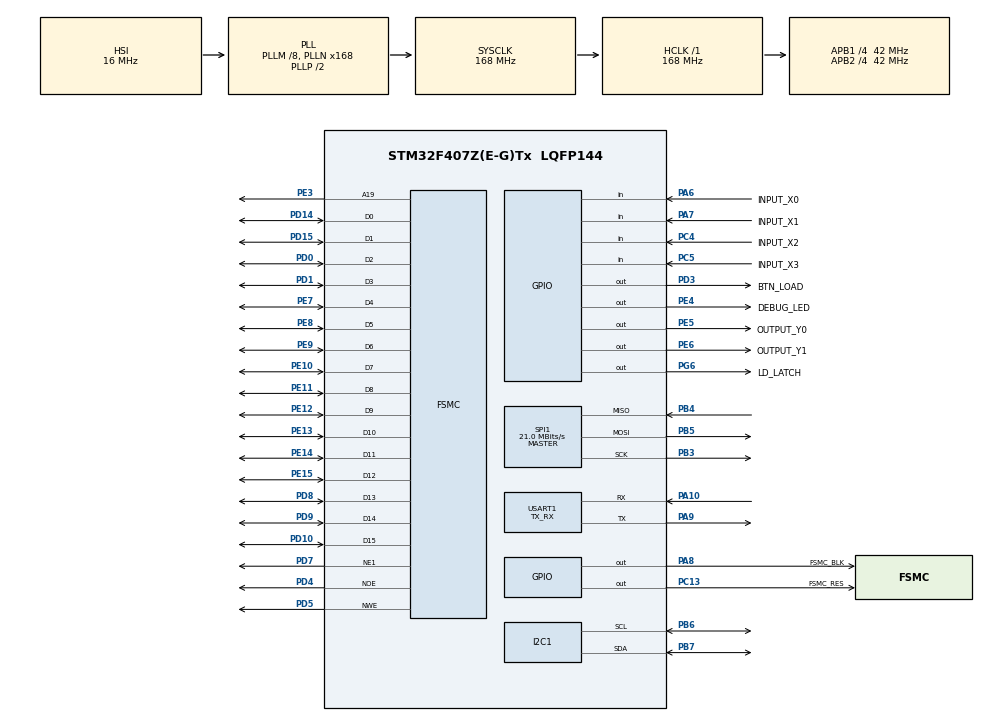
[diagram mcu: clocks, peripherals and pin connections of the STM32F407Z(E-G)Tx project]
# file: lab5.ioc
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FSMC.AddressSetupTime1=0xf
FSMC.BusTurnAroundDuration1=0
FSMC.DataSetupTime1=60
FSMC.ExtendedAddressSetupTime1=8
FSMC.ExtendedBusTurnAroundDuration1=0
FSMC.ExtendedDataSetupTime1=9
FSMC.ExtendedMode1=FSMC_EXTENDED_MODE_ENABLE
Mcu.Family=STM32F4
Mcu.Name=STM32F407Z(E-G)Tx
Mcu.Package=LQFP144
NVIC.PriorityGroup=NVIC_PRIORITYGROUP_4
NVIC.TIM2_IRQn=true\:0\:0\:false\:false\:true\:true\:true
NVIC.USART1_IRQn=true\:0\:0\:false\:false\:true\:true\:true
PA10.Mode=Asynchronous
PA10.Signal=USART1_RX
PA6.GPIO_Label=INPUT_X0
PA6.Signal=GPIO_Input
PA7.GPIO_Label=INPUT_X1
PA7.Signal=GPIO_Input
PA8.GPIO_Label=FSMC_BLK
PA8.Signal=GPIO_Output
PA9.Mode=Asynchronous
PA9.Signal=USART1_TX
PB3.Mode=Full_Duplex_Master
PB3.Signal=SPI1_SCK
PB4.Mode=Full_Duplex_Master
PB4.Signal=SPI1_MISO
PB5.Mode=Full_Duplex_Master
PB5.Signal=SPI1_MOSI
PB6.Mode=I2C
PB6.Signal=I2C1_SCL
PB7.Mode=I2C
PB7.Signal=I2C1_SDA
PC13-ANTI_TAMP.GPIO_Label=FSMC_RES
PC13-ANTI_TAMP.Signal=GPIO_Output
PC4.GPIO_Label=INPUT_X2
PC4.Signal=GPIO_Input
PC5.GPIO_Label=INPUT_X3
PC5.Signal=GPIO_Input
PD0.Signal=FSMC_D2_DA2
PD1.Signal=FSMC_D3_DA3
PD10.Signal=FSMC_D15_DA15
PD14.Signal=FSMC_D0_DA0
PD15.Signal=FSMC_D1_DA1
PD3.GPIO_Label=BTN_LOAD
PD3.Signal=GPIO_Output
PD4.Signal=FSMC_NOE
PD5.Signal=FSMC_NWE
PD7.Mode=NorPsramChipSelect1_1
PD7.Signal=FSMC_NE1
PD8.Signal=FSMC_D13_DA13
PD9.Signal=FSMC_D14_DA14
PE10.Signal=FSMC_D7_DA7
PE11.Signal=FSMC_D8_DA8
PE12.Signal=FSMC_D9_DA9
PE13.Signal=FSMC_D10_DA10
PE14.Signal=FSMC_D11_DA11
PE15.Signal=FSMC_D12_DA12
PE3.Signal=FSMC_A19
PE4.GPIO_Label=DEBUG_LED
PE4.Signal=GPIO_Output
PE5.GPIO_Label=OUTPUT_Y0
PE5.Signal=GPIO_Output
PE6.GPIO_Label=OUTPUT_Y1
PE6.Signal=GPIO_Output
PE7.Signal=FSMC_D4_DA4
PE8.Signal=FSMC_D5_DA5
PE9.Signal=FSMC_D6_DA6
PG6.GPIO_Label=LD_LATCH
PG6.Signal=GPIO_Output
ProjectManager.HeapSize=0x200
ProjectManager.StackSize=0x400
ProjectManager.TargetToolchain=STM32CubeIDE
RCC.48MHZClocksFreq_Value=84000000
RCC.AHBFreq_Value=168000000
RCC.APB1CLKDivider=RCC_HCLK_DIV4
RCC.APB1Freq_Value=42000000
RCC.APB1TimFreq_Value=84000000
RCC.APB2CLKDivider=RCC_HCLK_DIV4
RCC.APB2Freq_Value=42000000
RCC.APB2TimFreq_Value=84000000
RCC.CortexFreq_Value=168000000
RCC.HCLKFreq_Value=168000000
RCC.HSE_VALUE=25000000
RCC.HSI_VALUE=16000000
RCC.LSE_VALUE=32768
RCC.PLLM=8
RCC.PLLN=168
RCC.SYSCLKFreq_VALUE=168000000
RCC.SYSCLKSource=RCC_SYSCLKSOURCE_PLLCLK
RCC.VCOOutputFreq_Value=336000000
SH.FSMC_A19.0=FSMC_A19,A19_1
SH.FSMC_D0_DA0.0=FSMC_D0,16b-d1
SH.FSMC_D10_DA10.0=FSMC_D10,16b-d1
SH.FSMC_D11_DA11.0=FSMC_D11,16b-d1
SH.FSMC_D12_DA12.0=FSMC_D12,16b-d1
SH.FSMC_D13_DA13.0=FSMC_D13,16b-d1
SH.FSMC_D14_DA14.0=FSMC_D14,16b-d1
SH.FSMC_D15_DA15.0=FSMC_D15,16b-d1
SH.FSMC_D1_DA1.0=FSMC_D1,16b-d1
SH.FSMC_D2_DA2.0=FSMC_D2,16b-d1
SH.FSMC_D3_DA3.0=FSMC_D3,16b-d1
SH.FSMC_D4_DA4.0=FSMC_D4,16b-d1
SH.FSMC_D5_DA5.0=FSMC_D5,16b-d1
SH.FSMC_D6_DA6.0=FSMC_D6,16b-d1
SH.FSMC_D7_DA7.0=FSMC_D7,16b-d1
SH.FSMC_D8_DA8.0=FSMC_D8,16b-d1
SH.FSMC_D9_DA9.0=FSMC_D9,16b-d1
SH.FSMC_NOE.0=FSMC_NOE,Lcd1
SH.FSMC_NWE.0=FSMC_NWE,Lcd1
SPI1.CalculateBaudRate=21.0 MBits/s
SPI1.Direction=SPI_DIRECTION_2LINES
SPI1.Mode=SPI_MODE_MASTER
SPI1.VirtualType=VM_MASTER
TIM2.Period=100-1
TIM2.Prescaler=840-1
USART1.Mode=MODE_TX_RX
USART1.VirtualMode=VM_ASYNC
VP_TIM2_VS_ClockSourceINT.Mode=Internal
board=custom

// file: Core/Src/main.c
/* USER CODE BEGIN Header */
/**
  ******************************************************************************
  * @file           : main.c
  * @brief          : Main program body
  ******************************************************************************
  * @attention
  *
  * Copyright (c) 2023 STMicroelectronics.
  * All rights reserved.
  *
  * This software is licensed under terms that can be found in the LICENSE file
  * in the root directory of this software component.
  * If no LICENSE file comes with this software, it is provided AS-IS.
  *
  ******************************************************************************
  */
/* USER CODE END Header */
#include "main.h"

/* USER CODE BEGIN Includes */
#include "uart.h"
#include "clock.h"
/* USER CODE END Includes */

I2C_HandleTypeDef hi2c1;

SPI_HandleTypeDef hspi1;

TIM_HandleTypeDef htim2;

UART_HandleTypeDef huart1;

SRAM_HandleTypeDef hsram1;

void SystemClock_Config(void);
static void MX_GPIO_Init(void);
static void MX_USART1_UART_Init(void);
static void MX_FSMC_Init(void);
static void MX_TIM2_Init(void);
static void MX_SPI1_Init(void);
static void MX_I2C1_Init(void);
/* USER CODE BEGIN PFP */
void system_init();
/* USER CODE END PFP */

int main(void)
{

  /* MCU Configuration--------------------------------------------------------*/

  /* Reset of all peripherals, Initializes the Flash interface and the Systick. */
  HAL_Init();

  /* Configure the system clock */
  SystemClock_Config();

  /* Initialize all configured peripherals */
  MX_GPIO_Init();
  MX_USART1_UART_Init();
  MX_FSMC_Init();
  MX_TIM2_Init();
  MX_SPI1_Init();
  MX_I2C1_Init();
  /* USER CODE BEGIN 2 */
  system_init();  // Initialize all service

  setTimer2(20);          // for button scan
  setClockTimer(PERIOD);     // update clock every 500 ms
  setBlinkLCDTimer(250);  // blink LCD with frequency 2 Hz => Time period = 250 ms

  lcd_Clear(BLACK);
  setStartChar('!');
  setStopChar('#');
  uart_Rs232SendString((uint8_t *)"Hello from STM32\n");
  /* USER CODE END 2 */

  /* Infinite loop */
  /* USER CODE BEGIN WHILE */
  while (1)
  {
	  // displayTime();
    if (getBufSize() == 10) {
      uart_Rs232SendBytes(flushBuffer(), 10);
    }

    if (isClock()) {
      clockFSM();
    }

    if (isBlinkLCD()) {
      blinkTimeFSM();
    }

    if (isFlagTimer2()) {
      button_Scan();
    }

    /* USER CODE END WHILE */

  }
}

void SystemClock_Config(void)
{
  RCC_OscInitTypeDef RCC_OscInitStruct = {0};
  RCC_ClkInitTypeDef RCC_ClkInitStruct = {0};

  /** Configure the main internal regulator output voltage
  */
  __HAL_RCC_PWR_CLK_ENABLE();
  __HAL_PWR_VOLTAGESCALING_CONFIG(PWR_REGULATOR_VOLTAGE_SCALE1);
  /** Initializes the RCC Oscillators according to the specified parameters
  * in the RCC_OscInitTypeDef structure.
  */
  RCC_OscInitStruct.OscillatorType = RCC_OSCILLATORTYPE_HSI;
  RCC_OscInitStruct.HSIState = RCC_HSI_ON;
  RCC_OscInitStruct.HSICalibrationValue = RCC_HSICALIBRATION_DEFAULT;
  RCC_OscInitStruct.PLL.PLLState = RCC_PLL_ON;
  RCC_OscInitStruct.PLL.PLLSource = RCC_PLLSOURCE_HSI;
  RCC_OscInitStruct.PLL.PLLM = 8;
  RCC_OscInitStruct.PLL.PLLN = 168;
  RCC_OscInitStruct.PLL.PLLP = RCC_PLLP_DIV2;
  RCC_OscInitStruct.PLL.PLLQ = 4;
  if (HAL_RCC_OscConfig(&RCC_OscInitStruct) != HAL_OK)
  {
    Error_Handler();
  }
  /** Initializes the CPU, AHB and APB buses clocks
  */
  RCC_ClkInitStruct.ClockType = RCC_CLOCKTYPE_HCLK|RCC_CLOCKTYPE_SYSCLK
                              |RCC_CLOCKTYPE_PCLK1|RCC_CLOCKTYPE_PCLK2;
  RCC_ClkInitStruct.SYSCLKSource = RCC_SYSCLKSOURCE_PLLCLK;
  RCC_ClkInitStruct.AHBCLKDivider = RCC_SYSCLK_DIV1;
  RCC_ClkInitStruct.APB1CLKDivider = RCC_HCLK_DIV4;
  RCC_ClkInitStruct.APB2CLKDivider = RCC_HCLK_DIV4;

  if (HAL_RCC_ClockConfig(&RCC_ClkInitStruct, FLASH_LATENCY_5) != HAL_OK)
  {
    Error_Handler();
  }
}

static void MX_I2C1_Init(void)
{

  hi2c1.Instance = I2C1;
  hi2c1.Init.ClockSpeed = 100000;
  hi2c1.Init.DutyCycle = I2C_DUTYCYCLE_2;
  hi2c1.Init.OwnAddress1 = 0;
  hi2c1.Init.AddressingMode = I2C_ADDRESSINGMODE_7BIT;
  hi2c1.Init.DualAddressMode = I2C_DUALADDRESS_DISABLE;
  hi2c1.Init.OwnAddress2 = 0;
  hi2c1.Init.GeneralCallMode = I2C_GENERALCALL_DISABLE;
  hi2c1.Init.NoStretchMode = I2C_NOSTRETCH_DISABLE;
  if (HAL_I2C_Init(&hi2c1) != HAL_OK)
  {
    Error_Handler();
  }

}

static void MX_SPI1_Init(void)
{

  /* SPI1 parameter configuration*/
  hspi1.Instance = SPI1;
  hspi1.Init.Mode = SPI_MODE_MASTER;
  hspi1.Init.Direction = SPI_DIRECTION_2LINES;
  hspi1.Init.DataSize = SPI_DATASIZE_8BIT;
  hspi1.Init.CLKPolarity = SPI_POLARITY_LOW;
  hspi1.Init.CLKPhase = SPI_PHASE_1EDGE;
  hspi1.Init.NSS = SPI_NSS_SOFT;
  hspi1.Init.BaudRatePrescaler = SPI_BAUDRATEPRESCALER_2;
  hspi1.Init.FirstBit = SPI_FIRSTBIT_MSB;
  hspi1.Init.TIMode = SPI_TIMODE_DISABLE;
  hspi1.Init.CRCCalculation = SPI_CRCCALCULATION_DISABLE;
  hspi1.Init.CRCPolynomial = 10;
  if (HAL_SPI_Init(&hspi1) != HAL_OK)
  {
    Error_Handler();
  }

}

static void MX_TIM2_Init(void)
{

  TIM_ClockConfigTypeDef sClockSourceConfig = {0};
  TIM_MasterConfigTypeDef sMasterConfig = {0};

  htim2.Instance = TIM2;
  htim2.Init.Prescaler = 840-1;
  htim2.Init.CounterMode = TIM_COUNTERMODE_UP;
  htim2.Init.Period = 100-1;
  htim2.Init.ClockDivision = TIM_CLOCKDIVISION_DIV1;
  htim2.Init.AutoReloadPreload = TIM_AUTORELOAD_PRELOAD_DISABLE;
  if (HAL_TIM_Base_Init(&htim2) != HAL_OK)
  {
    Error_Handler();
  }
  sClockSourceConfig.ClockSource = TIM_CLOCKSOURCE_INTERNAL;
  if (HAL_TIM_ConfigClockSource(&htim2, &sClockSourceConfig) != HAL_OK)
  {
    Error_Handler();
  }
  sMasterConfig.MasterOutputTrigger = TIM_TRGO_RESET;
  sMasterConfig.MasterSlaveMode = TIM_MASTERSLAVEMODE_DISABLE;
  if (HAL_TIMEx_MasterConfigSynchronization(&htim2, &sMasterConfig) != HAL_OK)
  {
    Error_Handler();
  }

}

static void MX_USART1_UART_Init(void)
{

  huart1.Instance = USART1;
  huart1.Init.BaudRate = 115200;
  huart1.Init.WordLength = UART_WORDLENGTH_8B;
  huart1.Init.StopBits = UART_STOPBITS_1;
  huart1.Init.Parity = UART_PARITY_NONE;
  huart1.Init.Mode = UART_MODE_TX_RX;
  huart1.Init.HwFlowCtl = UART_HWCONTROL_NONE;
  huart1.Init.OverSampling = UART_OVERSAMPLING_16;
  if (HAL_UART_Init(&huart1) != HAL_OK)
  {
    Error_Handler();
  }

}

static void MX_GPIO_Init(void)
{
  GPIO_InitTypeDef GPIO_InitStruct = {0};

  /* GPIO Ports Clock Enable */
  __HAL_RCC_GPIOE_CLK_ENABLE();
  __HAL_RCC_GPIOC_CLK_ENABLE();
  __HAL_RCC_GPIOA_CLK_ENABLE();
  __HAL_RCC_GPIOD_CLK_ENABLE();
  __HAL_RCC_GPIOG_CLK_ENABLE();
  __HAL_RCC_GPIOB_CLK_ENABLE();

  /*Configure GPIO pin Output Level */
  HAL_GPIO_WritePin(GPIOE, DEBUG_LED_Pin|OUTPUT_Y0_Pin|OUTPUT_Y1_Pin, GPIO_PIN_RESET);

  /*Configure GPIO pin Output Level */
  HAL_GPIO_WritePin(FSMC_RES_GPIO_Port, FSMC_RES_Pin, GPIO_PIN_RESET);

  /*Configure GPIO pin Output Level */
  HAL_GPIO_WritePin(LD_LATCH_GPIO_Port, LD_LATCH_Pin, GPIO_PIN_RESET);

  /*Configure GPIO pin Output Level */
  HAL_GPIO_WritePin(FSMC_BLK_GPIO_Port, FSMC_BLK_Pin, GPIO_PIN_RESET);

  /*Configure GPIO pin Output Level */
  HAL_GPIO_WritePin(BTN_LOAD_GPIO_Port, BTN_LOAD_Pin, GPIO_PIN_RESET);

  /*Configure GPIO pins : DEBUG_LED_Pin OUTPUT_Y0_Pin OUTPUT_Y1_Pin */
  GPIO_InitStruct.Pin = DEBUG_LED_Pin|OUTPUT_Y0_Pin|OUTPUT_Y1_Pin;
  GPIO_InitStruct.Mode = GPIO_MODE_OUTPUT_PP;
  GPIO_InitStruct.Pull = GPIO_NOPULL;
  GPIO_InitStruct.Speed = GPIO_SPEED_FREQ_LOW;
  HAL_GPIO_Init(GPIOE, &GPIO_InitStruct);

  /*Configure GPIO pin : FSMC_RES_Pin */
  GPIO_InitStruct.Pin = FSMC_RES_Pin;
  GPIO_InitStruct.Mode = GPIO_MODE_OUTPUT_PP;
  GPIO_InitStruct.Pull = GPIO_NOPULL;
  GPIO_InitStruct.Speed = GPIO_SPEED_FREQ_LOW;
  HAL_GPIO_Init(FSMC_RES_GPIO_Port, &GPIO_InitStruct);

  /*Configure GPIO pins : INPUT_X0_Pin INPUT_X1_Pin */
  GPIO_InitStruct.Pin = INPUT_X0_Pin|INPUT_X1_Pin;
  GPIO_InitStruct.Mode = GPIO_MODE_INPUT;
  GPIO_InitStruct.Pull = GPIO_NOPULL;
  HAL_GPIO_Init(GPIOA, &GPIO_InitStruct);

  /*Configure GPIO pins : INPUT_X2_Pin INPUT_X3_Pin */
  GPIO_InitStruct.Pin = INPUT_X2_Pin|INPUT_X3_Pin;
  GPIO_InitStruct.Mode = GPIO_MODE_INPUT;
  GPIO_InitStruct.Pull = GPIO_NOPULL;
  HAL_GPIO_Init(GPIOC, &GPIO_InitStruct);

  /*Configure GPIO pin : LD_LATCH_Pin */
  GPIO_InitStruct.Pin = LD_LATCH_Pin;
  GPIO_InitStruct.Mode = GPIO_MODE_OUTPUT_PP;
  GPIO_InitStruct.Pull = GPIO_NOPULL;
  GPIO_InitStruct.Speed = GPIO_SPEED_FREQ_LOW;
  HAL_GPIO_Init(LD_LATCH_GPIO_Port, &GPIO_InitStruct);

  /*Configure GPIO pin : FSMC_BLK_Pin */
  GPIO_InitStruct.Pin = FSMC_BLK_Pin;
  GPIO_InitStruct.Mode = GPIO_MODE_OUTPUT_PP;
  GPIO_InitStruct.Pull = GPIO_NOPULL;
  GPIO_InitStruct.Speed = GPIO_SPEED_FREQ_LOW;
  HAL_GPIO_Init(FSMC_BLK_GPIO_Port, &GPIO_InitStruct);

  /*Configure GPIO pin : BTN_LOAD_Pin */
  GPIO_InitStruct.Pin = BTN_LOAD_Pin;
  GPIO_InitStruct.Mode = GPIO_MODE_OUTPUT_PP;
  GPIO_InitStruct.Pull = GPIO_NOPULL;
  GPIO_InitStruct.Speed = GPIO_SPEED_FREQ_LOW;
  HAL_GPIO_Init(BTN_LOAD_GPIO_Port, &GPIO_InitStruct);

}

/* FSMC initialization function */
static void MX_FSMC_Init(void)
{

  FSMC_NORSRAM_TimingTypeDef Timing = {0};
  FSMC_NORSRAM_TimingTypeDef ExtTiming = {0};

  /** Perform the SRAM1 memory initialization sequence
  */
  hsram1.Instance = FSMC_NORSRAM_DEVICE;
  hsram1.Extended = FSMC_NORSRAM_EXTENDED_DEVICE;
  /* hsram1.Init */
  hsram1.Init.NSBank = FSMC_NORSRAM_BANK1;
  hsram1.Init.DataAddressMux = FSMC_DATA_ADDRESS_MUX_DISABLE;
  hsram1.Init.MemoryType = FSMC_MEMORY_TYPE_SRAM;
  hsram1.Init.MemoryDataWidth = FSMC_NORSRAM_MEM_BUS_WIDTH_16;
  hsram1.Init.BurstAccessMode = FSMC_BURST_ACCESS_MODE_DISABLE;
  hsram1.Init.WaitSignalPolarity = FSMC_WAIT_SIGNAL_POLARITY_LOW;
  hsram1.Init.WrapMode = FSMC_WRAP_MODE_DISABLE;
  hsram1.Init.WaitSignalActive = FSMC_WAIT_TIMING_BEFORE_WS;
  hsram1.Init.WriteOperation = FSMC_WRITE_OPERATION_ENABLE;
  hsram1.Init.WaitSignal = FSMC_WAIT_SIGNAL_DISABLE;
  hsram1.Init.ExtendedMode = FSMC_EXTENDED_MODE_ENABLE;
  hsram1.Init.AsynchronousWait = FSMC_ASYNCHRONOUS_WAIT_DISABLE;
  hsram1.Init.WriteBurst = FSMC_WRITE_BURST_DISABLE;
  hsram1.Init.PageSize = FSMC_PAGE_SIZE_NONE;
  /* Timing */
  Timing.AddressSetupTime = 0xf;
  Timing.AddressHoldTime = 15;
  Timing.DataSetupTime = 60;
  Timing.BusTurnAroundDuration = 0;
  Timing.CLKDivision = 16;
  Timing.DataLatency = 17;
  Timing.AccessMode = FSMC_ACCESS_MODE_A;
  /* ExtTiming */
  ExtTiming.AddressSetupTime = 8;
  ExtTiming.AddressHoldTime = 15;
  ExtTiming.DataSetupTime = 9;
  ExtTiming.BusTurnAroundDuration = 0;
  ExtTiming.CLKDivision = 16;
  ExtTiming.DataLatency = 17;
  ExtTiming.AccessMode = FSMC_ACCESS_MODE_A;

  if (HAL_SRAM_Init(&hsram1, &Timing, &ExtTiming) != HAL_OK)
  {
    Error_Handler( );
  }

}

/* USER CODE BEGIN 4 */
/**
 * @brief Innitialize all services of system
 * @param None
 * @retval None
 */
void system_init() {
  // Initialize GPIO
  HAL_GPIO_WritePin(OUTPUT_Y0_GPIO_Port, OUTPUT_Y0_Pin, 0);
  HAL_GPIO_WritePin(OUTPUT_Y1_GPIO_Port, OUTPUT_Y1_Pin, 0);
  HAL_GPIO_WritePin(DEBUG_LED_GPIO_Port, DEBUG_LED_Pin, 0);

  uart_init_rs232();  // Initialize UART
  timer_init();       // Initialize software timer
  led7_init();        // Initialize leg 7 segment
  button_init();      // Initialize button
  lcd_init();         // Initialize LCD monitor
  ds3231_init();      // Initialize IC RTC DS3231
  clockInit();        // Initialize clock
}
/* USER CODE END 4 */

void Error_Handler(void)
{
  __disable_irq();
  while (1)
  {
  }
}

/************************ (C) COPYRIGHT STMicroelectronics *****END OF FILE****/
